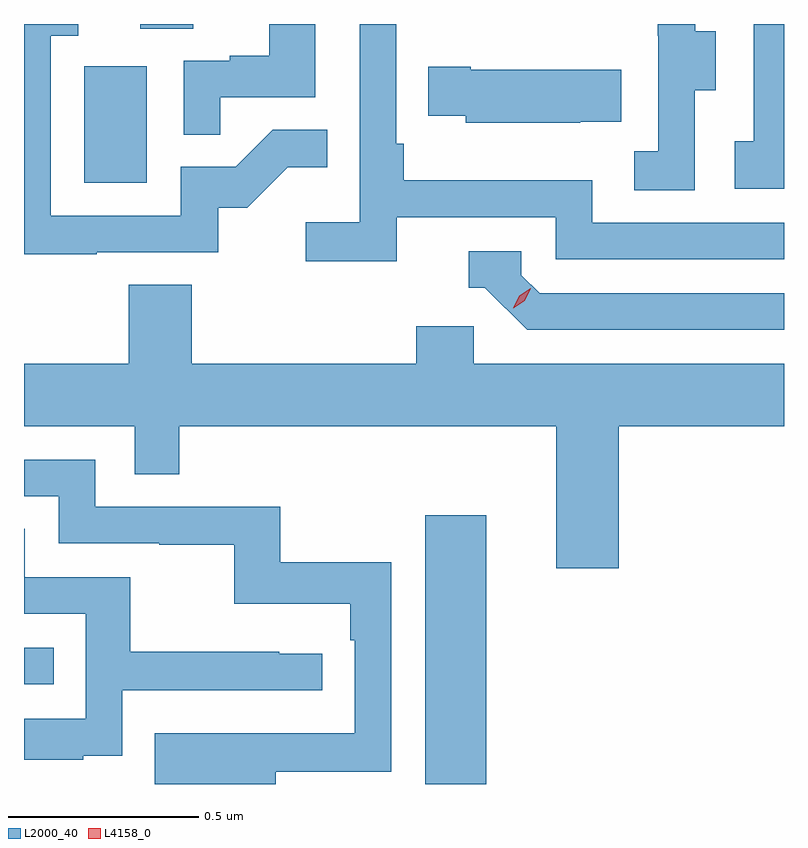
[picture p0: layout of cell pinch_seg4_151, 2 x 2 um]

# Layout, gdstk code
import gdstk
lib = gdstk.Library(unit=1e-6, precision=1e-09)
def R(c, l, rs):  # rectangles x0, y0, x1, y1
    for r in rs: c.add(gdstk.rectangle(r[:2], r[2:], *l))
def P(c, l, *ps):  # polygons
    for p in ps: c.add(gdstk.Polygon(p, *l))
L2000_40 = (2000, 40)
L4158_0 = (4158, 0)

pinch_seg4_151 = lib.new_cell('pinch_seg4_151')
R(pinch_seg4_151, L2000_40, [(1135.691,806.534,1135.852,807.241), (1134.635,806.796,1134.713,806.892), (1134.794,808.116,1134.958,808.423), (1134.941,808.522,1135.081,808.534)])
P(pinch_seg4_151, L2000_40, [(1136.635,808.534),(1136.556,808.534),(1136.556,808.226),(1136.505,808.226),(1136.505,808.101),(1136.635,808.101)],
  [(1135.151,808.341),(1135.402,808.341),(1135.402,808.534),(1135.28,808.534),(1135.28,808.45),(1135.177,808.45),(1135.177,808.437),(1135.056,808.437),(1135.056,808.243),(1135.151,808.243)],
  [(1134.827,807.933),(1135.146,807.933),(1135.146,808.05),(1135.222,808.05),(1135.329,808.157),(1135.433,808.157),(1135.433,808.256),(1135.29,808.256),(1135.192,808.158),(1135.047,808.158),(1135.047,808.029),(1134.705,808.029),(1134.705,808.503),(1134.778,808.503),(1134.778,808.534),(1134.635,808.534),(1134.635,807.928),(1134.827,807.928)],
  [(1135.616,808.026),(1136.034,808.026),(1136.034,807.915),(1136.635,807.915),(1136.635,808.011),(1136.13,808.011),(1136.13,808.123),(1135.634,808.123),(1135.634,808.219),(1135.614,808.219),(1135.614,808.534),(1135.518,808.534),(1135.518,808.012),(1135.377,808.012),(1135.377,807.91),(1135.616,807.91)],
  [(1136.4,808.36),(1136.455,808.36),(1136.455,808.515),(1136.401,808.515),(1136.401,808.534),(1136.303,808.534),(1136.303,808.503),(1136.304,808.503),(1136.304,808.199),(1136.241,808.199),(1136.241,808.096),(1136.4,808.096)],
  [(1136.099,808.277),(1136.207,808.277),(1136.207,808.414),(1135.81,808.414),(1135.81,808.422),(1135.699,808.422),(1135.699,808.292),(1135.797,808.292),(1135.797,808.274),(1136.099,808.274)],
  [(1136.635,807.825),(1135.992,807.825),(1135.944,807.873),(1135.944,807.936),(1135.805,807.936),(1135.805,807.84),(1135.848,807.84),(1135.959,807.729),(1136.635,807.729)],
  [(1136.2,807.476),(1136.635,807.476),(1136.635,807.64),(1135.818,807.64),(1135.818,807.738),(1135.667,807.738),(1135.667,807.64),(1135.076,807.64),(1135.076,807.848),(1134.911,807.848),(1134.911,807.64),(1134.635,807.64),(1134.635,807.476),(1134.927,807.476),(1134.927,807.349),(1135.043,807.349),(1135.043,807.476),(1136.036,807.476),(1136.036,807.102),(1136.2,807.102)],
  [(1135.297,806.566),(1135.602,806.566),(1135.602,807.118),(1135.309,807.118),(1135.309,807.264),(1134.822,807.264),(1134.822,807.387),(1134.635,807.387),(1134.635,807.291),(1134.726,807.291),(1134.726,807.168),(1134.991,807.168),(1134.991,807.163),(1135.188,807.163),(1135.188,807.008),(1135.493,807.008),(1135.493,806.912),(1135.506,806.912),(1135.506,806.667),(1135.193,806.667),(1135.193,806.668),(1134.979,806.668),(1134.979,806.534),(1135.297,806.534)],
  [(1134.791,806.609),(1134.894,806.609),(1134.894,806.781),(1135.42,806.781),(1135.42,806.877),(1135.307,806.877),(1135.307,806.882),(1134.914,806.882),(1134.914,807.078),(1134.637,807.078),(1134.637,807.206),(1134.635,807.206),(1134.635,806.982),(1134.798,806.982),(1134.798,806.706),(1134.635,806.706),(1134.635,806.598),(1134.791,806.598)])
P(pinch_seg4_151, L4158_0, [(1135.922,807.786),(1135.922,807.786),(1135.938,807.819),(1135.968,807.839),(1135.968,807.839),(1135.968,807.839),(1135.953,807.806),(1135.923,807.786)])

lib.write_gds('pinch_seg4_151.gds')
